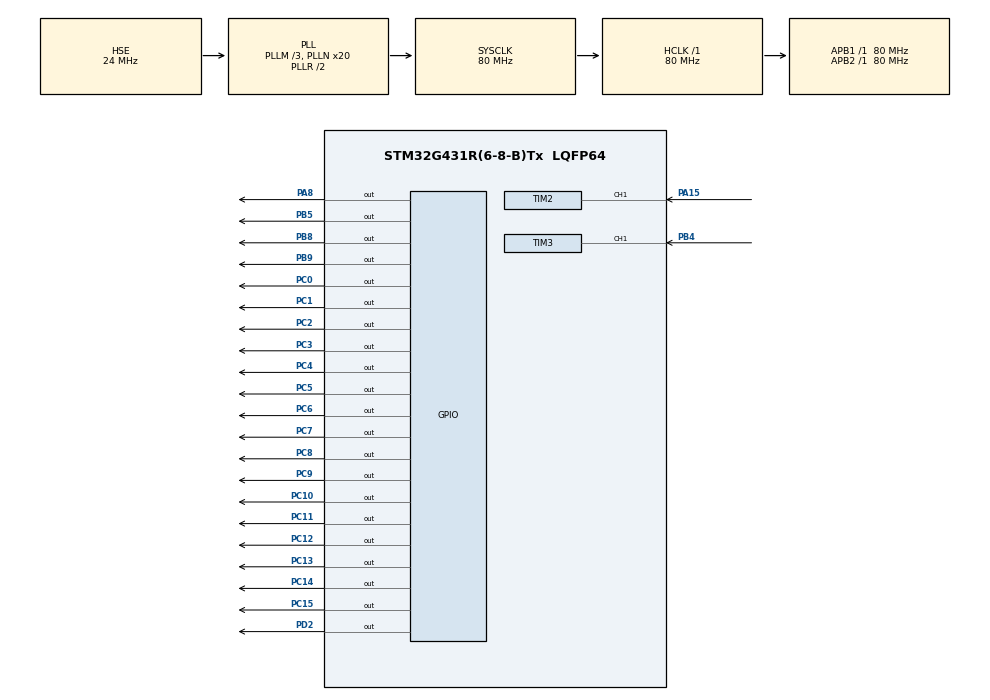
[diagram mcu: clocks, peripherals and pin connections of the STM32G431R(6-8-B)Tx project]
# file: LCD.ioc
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Mcu.Family=STM32G4
Mcu.Name=STM32G431R(6-8-B)Tx
Mcu.Package=LQFP64
NVIC.PriorityGroup=NVIC_PRIORITYGROUP_4
NVIC.TIM2_IRQn=true\:0\:0\:true\:false\:true\:true\:true\:true
NVIC.TIM3_IRQn=true\:0\:0\:false\:false\:true\:true\:true\:true
PA13.Mode=Serial_Wire
PA13.Signal=SYS_JTMS-SWDIO
PA14.Mode=Serial_Wire
PA14.Signal=SYS_JTCK-SWCLK
PA15.Signal=S_TIM2_CH1
PA8.Signal=GPIO_Output
PB4.Signal=S_TIM3_CH1
PB5.Signal=GPIO_Output
PB8-BOOT0.Signal=GPIO_Output
PB9.Signal=GPIO_Output
PC0.Signal=GPIO_Output
PC1.Signal=GPIO_Output
PC10.Signal=GPIO_Output
PC11.Signal=GPIO_Output
PC12.Signal=GPIO_Output
PC13.Signal=GPIO_Output
PC14-OSC32_IN.Signal=GPIO_Output
PC15-OSC32_OUT.Signal=GPIO_Output
PC2.Signal=GPIO_Output
PC3.Signal=GPIO_Output
PC4.Signal=GPIO_Output
PC5.Signal=GPIO_Output
PC6.Signal=GPIO_Output
PC7.Signal=GPIO_Output
PC8.Signal=GPIO_Output
PC9.Signal=GPIO_Output
PD2.Signal=GPIO_Output
PF0-OSC_IN.Mode=HSE-External-Oscillator
PF0-OSC_IN.Signal=RCC_OSC_IN
PF1-OSC_OUT.Mode=HSE-External-Oscillator
PF1-OSC_OUT.Signal=RCC_OSC_OUT
ProjectManager.HeapSize=0x200
ProjectManager.StackSize=0x400
ProjectManager.TargetToolchain=MDK-ARM V5.32
RCC.ADC12Freq_Value=80000000
RCC.AHBFreq_Value=80000000
RCC.APB1Freq_Value=80000000
RCC.APB1TimFreq_Value=80000000
RCC.APB2Freq_Value=80000000
RCC.APB2TimFreq_Value=80000000
RCC.CortexFreq_Value=80000000
RCC.EXTERNAL_CLOCK_VALUE=12288000
RCC.HCLKFreq_Value=80000000
RCC.HSE_VALUE=24000000
RCC.HSI48_VALUE=48000000
RCC.HSI_VALUE=16000000
RCC.LSE_VALUE=32768
RCC.PLLM=RCC_PLLM_DIV3
RCC.PLLN=20
RCC.PLLSourceVirtual=RCC_PLLSOURCE_HSE
RCC.SYSCLKFreq_VALUE=80000000
RCC.SYSCLKSource=RCC_SYSCLKSOURCE_PLLCLK
RCC.USBFreq_Value=80000000
RCC.VCOOutputFreq_Value=160000000
SH.S_TIM2_CH1.0=TIM2_CH1,Input_Capture1_from_TI1
SH.S_TIM3_CH1.0=TIM3_CH1,Input_Capture1_from_TI1
TIM2.Channel-Input_Capture1_from_TI1=TIM_CHANNEL_1
TIM2.PeriodNoDither=655535
TIM2.Prescaler=79
TIM3.Channel-Input_Capture1_from_TI1=TIM_CHANNEL_1
TIM3.Prescaler=79
VP_SYS_VS_DBSignals.Mode=DisableDeadBatterySignals
VP_TIM2_VS_ClockSourceINT.Mode=Internal
VP_TIM3_VS_ClockSourceINT.Mode=Internal
board=custom

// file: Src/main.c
/* USER CODE BEGIN Header */
/**
  ******************************************************************************
  * @file           : main.c
  * @brief          : Main program body
  ******************************************************************************
  * @attention
  *
  * Copyright (c) 2024 STMicroelectronics.
  * All rights reserved.
  *
  * This software is licensed under terms that can be found in the LICENSE file
  * in the root directory of this software component.
  * If no LICENSE file comes with this software, it is provided AS-IS.
  *
  ******************************************************************************
  */
/* USER CODE END Header */
#include "main.h"
#include "tim.h"
#include "gpio.h"

/* USER CODE BEGIN Includes */
#include "stdio.h"
//#include "fonts.h"
/* USER CODE END Includes */

/* USER CODE BEGIN PTD */
u32 tim2_cnt1;
u32 f40=0;
uint32_t  f39 = 0;
uint32_t compare1,compare2;
uint32_t frq1,frq2;   //频率
float duty1=0,duty2=0;   //占空比
char buf[64],buf1[40] ;
/* USER CODE END PTD */

void SystemClock_Config(void);
/* USER CODE BEGIN PFP */
uint8_t buff[3]={1,2,3};
/* USER CODE END PFP */

int main(void)
{

  /* MCU Configuration--------------------------------------------------------*/

  /* Reset of all peripherals, Initializes the Flash interface and the Systick. */
  HAL_Init();

  /* Configure the system clock */
  SystemClock_Config();

  /* Initialize all configured peripherals */
  MX_GPIO_Init();
  MX_TIM2_Init();
  MX_TIM3_Init();
  /* USER CODE BEGIN 2 */
    LCD_Init();
		LCD_Clear(Red);
		LCD_SetBackColor(Red);
		LCD_SetTextColor(White);
//	 LCD_SetTextColor(Black);
    HAL_GPIO_WritePin(GPIOD,GPIO_PIN_2,0);

		 HAL_TIM_IC_Start_IT(&htim2,TIM_CHANNEL_1); //开启pwm输入捕获中断
     HAL_TIM_IC_Start_IT(&htim3,TIM_CHANNEL_1);
//		 __HAL_TIM_SetAutoreload
//		 __HAL_TIM_SetCompare
//		 __HAL_TIM_SET_PRESCALER
  /* USER CODE END 2 */

  /* Infinite loop */
  /* USER CODE BEGIN WHILE */
  while (1)
  {

	sprintf(buf , "TIM2(R40): %d Hz   ", frq1);
	LCD_DisplayStringLine(Line8, (uint8_t *)buf);

	sprintf(buf1 , "TIM3(R39): %dHz    ", frq2);
	LCD_DisplayStringLine(Line9, (uint8_t *)buf1);

    /* USER CODE END WHILE */

  }
}

void SystemClock_Config(void)
{
  RCC_OscInitTypeDef RCC_OscInitStruct = {0};
  RCC_ClkInitTypeDef RCC_ClkInitStruct = {0};

  /** Configure the main internal regulator output voltage
  */
  HAL_PWREx_ControlVoltageScaling(PWR_REGULATOR_VOLTAGE_SCALE1);

  /** Initializes the RCC Oscillators according to the specified parameters
  * in the RCC_OscInitTypeDef structure.
  */
  RCC_OscInitStruct.OscillatorType = RCC_OSCILLATORTYPE_HSE;
  RCC_OscInitStruct.HSEState = RCC_HSE_ON;
  RCC_OscInitStruct.PLL.PLLState = RCC_PLL_ON;
  RCC_OscInitStruct.PLL.PLLSource = RCC_PLLSOURCE_HSE;
  RCC_OscInitStruct.PLL.PLLM = RCC_PLLM_DIV3;
  RCC_OscInitStruct.PLL.PLLN = 20;
  RCC_OscInitStruct.PLL.PLLP = RCC_PLLP_DIV2;
  RCC_OscInitStruct.PLL.PLLQ = RCC_PLLQ_DIV2;
  RCC_OscInitStruct.PLL.PLLR = RCC_PLLR_DIV2;
  if (HAL_RCC_OscConfig(&RCC_OscInitStruct) != HAL_OK)
  {
    Error_Handler();
  }

  /** Initializes the CPU, AHB and APB buses clocks
  */
  RCC_ClkInitStruct.ClockType = RCC_CLOCKTYPE_HCLK|RCC_CLOCKTYPE_SYSCLK
                              |RCC_CLOCKTYPE_PCLK1|RCC_CLOCKTYPE_PCLK2;
  RCC_ClkInitStruct.SYSCLKSource = RCC_SYSCLKSOURCE_PLLCLK;
  RCC_ClkInitStruct.AHBCLKDivider = RCC_SYSCLK_DIV1;
  RCC_ClkInitStruct.APB1CLKDivider = RCC_HCLK_DIV1;
  RCC_ClkInitStruct.APB2CLKDivider = RCC_HCLK_DIV1;

  if (HAL_RCC_ClockConfig(&RCC_ClkInitStruct, FLASH_LATENCY_2) != HAL_OK)
  {
    Error_Handler();
  }
}

/* USER CODE BEGIN 4 */

void HAL_TIM_IC_CaptureCallback(TIM_HandleTypeDef *htim)
{
	if(htim->Instance==TIM2)
	{
	  compare1=HAL_TIM_ReadCapturedValue(&htim2,TIM_CHANNEL_1)+1;
	  __HAL_TIM_SetCounter(&htim2,0);
		frq1=(1000000*1.0)/(compare1);
		HAL_TIM_IC_Start_IT(&htim2,TIM_CHANNEL_1);
	}
	if(htim->Instance==TIM3)
	{
	  compare2=HAL_TIM_ReadCapturedValue(&htim3,TIM_CHANNEL_1)+1;
	  __HAL_TIM_SetCounter(&htim3,0);
		frq2=(1000000*1.0)/(compare2);
		HAL_TIM_IC_Start_IT(&htim3,TIM_CHANNEL_1);
	}
}
/* USER CODE END 4 */

void Error_Handler(void)
{
  __disable_irq();
  while (1)
  {
  }
}
